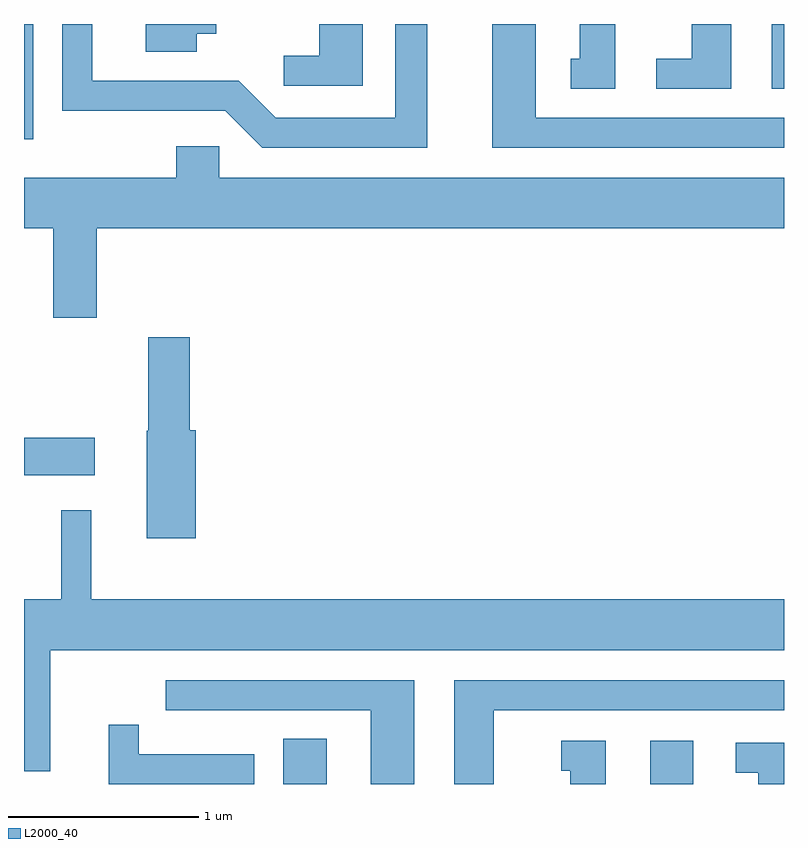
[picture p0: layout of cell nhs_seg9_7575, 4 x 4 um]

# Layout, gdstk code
import gdstk
lib = gdstk.Library(unit=1e-6, precision=1e-09)
def R(c, l, rs):  # rectangles x0, y0, x1, y1
    for r in rs: c.add(gdstk.rectangle(r[:2], r[2:], *l))
def P(c, l, *ps):  # polygons
    for p in ps: c.add(gdstk.Polygon(p, *l))
L2000_40 = (2000, 40)

nhs_seg9_7575 = lib.new_cell('nhs_seg9_7575')
R(nhs_seg9_7575, L2000_40, [(410.976,2004.432,411.204,2004.669), (412.906,2004.432,413.134,2004.659), (409.611,2006.056,409.984,2006.254), (409.611,2007.826,409.659,2008.432), (413.546,2008.091,413.611,2008.432)])
P(nhs_seg9_7575, L2000_40, [(411.394,2008.432),(411.166,2008.432),(411.166,2008.264),(410.978,2008.264),(410.978,2008.106),(411.394,2008.106)],
  [(413.611,2007.939),(412.304,2007.939),(412.304,2008.432),(412.076,2008.432),(412.076,2007.781),(413.611,2007.781)],
  [(411.734,2008.432),(411.566,2008.432),(411.566,2007.939),(410.937,2007.939),(410.742,2008.134),(409.969,2008.134),(409.969,2008.432),(409.811,2008.432),(409.811,2007.976),(410.669,2007.976),(410.864,2007.781),(411.734,2007.781)],
  [(413.334,2008.432),(413.126,2008.432),(413.126,2008.249),(412.938,2008.249),(412.938,2008.091),(413.334,2008.091)],
  [(410.519,2008.381),(410.624,2008.381),(410.624,2008.432),(410.251,2008.432),(410.251,2008.286),(410.519,2008.286)],
  [(412.724,2008.432),(412.536,2008.432),(412.536,2008.249),(412.488,2008.249),(412.488,2008.091),(412.724,2008.091)],
  [(409.994,2007.356),(413.611,2007.356),(413.611,2007.624),(410.639,2007.624),(410.639,2007.789),(410.411,2007.789),(410.411,2007.624),(409.611,2007.624),(409.611,2007.356),(409.766,2007.356),(409.766,2006.886),(409.994,2006.886)],
  [(410.514,2006.294),(410.484,2006.294),(410.484,2006.784),(410.266,2006.784),(410.266,2006.29),(410.256,2006.29),(410.256,2005.726),(410.514,2005.726)],
  [(409.749,2005.136),(413.611,2005.136),(413.611,2005.404),(409.964,2005.404),(409.964,2005.873),(409.806,2005.873),(409.806,2005.404),(409.611,2005.404),(409.611,2004.498),(409.749,2004.498)],
  [(412.084,2004.821),(413.611,2004.821),(413.611,2004.979),(411.876,2004.979),(411.876,2004.432),(412.084,2004.432)],
  [(411.664,2004.979),(410.358,2004.979),(410.358,2004.821),(411.436,2004.821),(411.436,2004.432),(411.664,2004.432)],
  [(410.824,2004.589),(410.214,2004.589),(410.214,2004.743),(410.056,2004.743),(410.056,2004.432),(410.824,2004.432)],
  [(412.674,2004.659),(412.438,2004.659),(412.438,2004.501),(412.486,2004.501),(412.486,2004.432),(412.674,2004.432)],
  [(413.611,2004.649),(413.358,2004.649),(413.358,2004.491),(413.476,2004.491),(413.476,2004.432),(413.611,2004.432)])

lib.write_gds('nhs_seg9_7575.gds')
